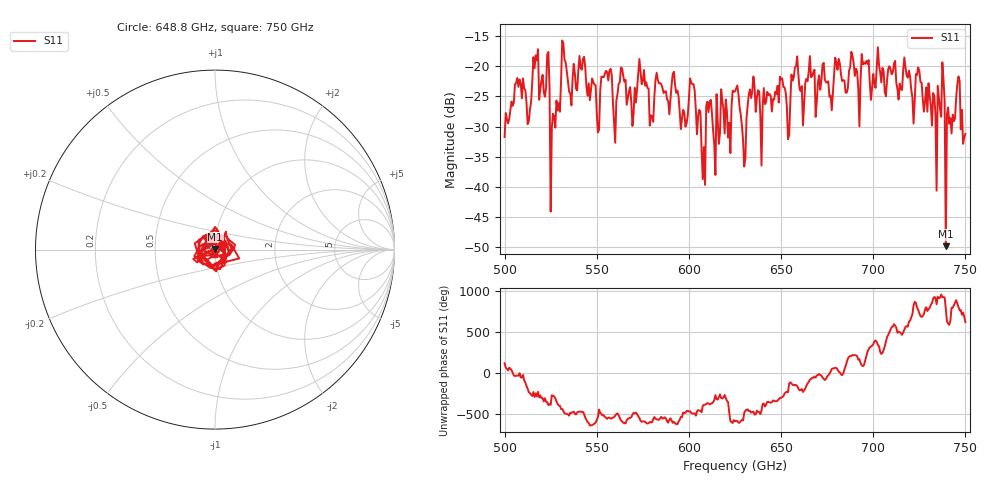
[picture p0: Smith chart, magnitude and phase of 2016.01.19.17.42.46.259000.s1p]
!Created with skrf (http://scikit-rf.org).
# GHz S RI R 50.0
!freq ReS11 ImS11
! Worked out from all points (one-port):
!   401 points, 500 GHz to 750 GHz, reference 50 ohm
!   lowest |S11| = -49.8 dB at 739.4 GHz (marker M1), VSWR 1.01, Z = 50.2 + j0.281 ohm
!   |S11| at or under -10 dB: start of sweep to end of sweep
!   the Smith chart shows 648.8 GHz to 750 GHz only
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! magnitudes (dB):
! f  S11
! 500 GHz  -31.7
! 506.9 GHz  -22.0
! 513.1 GHz  -29.1
! 516.9 GHz  -18.2
! 523.1 GHz  -18.0
! 526.2 GHz  -27.9
! 531.2 GHz  -15.7
! 550.6 GHz  -31.0
! 562.5 GHz  -22.6
! 593.8 GHz  -24.0
! 601.9 GHz  -23.0
! 607.5 GHz  -38.7
! 610.6 GHz  -27.6
! 615 GHz  -24.6
! 625 GHz  -24.2
! 630 GHz  -36.6
! 634.4 GHz  -24.2
! 640 GHz  -26.6
! 650.6 GHz  -22.0
! 653.8 GHz  -32.1
! 656.2 GHz  -22.4
! 687.5 GHz  -20.1
! 718.8 GHz  -21.9
! 733.1 GHz  -24.9
! 737.5 GHz  -19.4
! 739.4 GHz  -49.8
! 745.6 GHz  -23.0
! 750 GHz  -31.2
